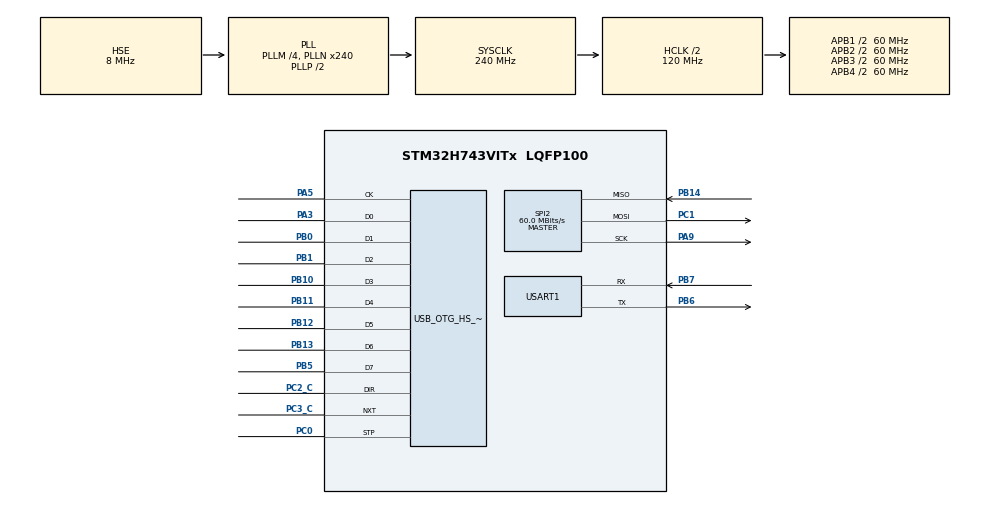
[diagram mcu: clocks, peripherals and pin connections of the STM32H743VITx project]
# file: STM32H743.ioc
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CORTEX_M7.default_mode_Activation=1
Mcu.Family=STM32H7
Mcu.Name=STM32H743VITx
Mcu.Package=LQFP100
NVIC.PriorityGroup=NVIC_PRIORITYGROUP_4
PA3.Mode=Device_HS
PA3.Signal=USB_OTG_HS_ULPI_D0
PA5.Mode=Device_HS
PA5.Signal=USB_OTG_HS_ULPI_CK
PA9.Mode=Full_Duplex_Master
PA9.Signal=SPI2_SCK
PB0.Mode=Device_HS
PB0.Signal=USB_OTG_HS_ULPI_D1
PB1.Mode=Device_HS
PB1.Signal=USB_OTG_HS_ULPI_D2
PB10.Mode=Device_HS
PB10.Signal=USB_OTG_HS_ULPI_D3
PB11.Mode=Device_HS
PB11.Signal=USB_OTG_HS_ULPI_D4
PB12.Mode=Device_HS
PB12.Signal=USB_OTG_HS_ULPI_D5
PB13.Mode=Device_HS
PB13.Signal=USB_OTG_HS_ULPI_D6
PB14.Mode=Full_Duplex_Master
PB14.Signal=SPI2_MISO
PB5.Mode=Device_HS
PB5.Signal=USB_OTG_HS_ULPI_D7
PB6.Mode=Asynchronous
PB6.Signal=USART1_TX
PB7.Mode=Asynchronous
PB7.Signal=USART1_RX
PC0.Mode=Device_HS
PC0.Signal=USB_OTG_HS_ULPI_STP
PC1.Mode=Full_Duplex_Master
PC1.Signal=SPI2_MOSI
PC14-OSC32_IN\ (OSC32_IN).Mode=LSE-External-Oscillator
PC14-OSC32_IN\ (OSC32_IN).Signal=RCC_OSC32_IN
PC15-OSC32_OUT\ (OSC32_OUT).Mode=LSE-External-Oscillator
PC15-OSC32_OUT\ (OSC32_OUT).Signal=RCC_OSC32_OUT
PC2_C.Mode=Device_HS
PC2_C.Signal=USB_OTG_HS_ULPI_DIR
PC3_C.Mode=Device_HS
PC3_C.Signal=USB_OTG_HS_ULPI_NXT
PH0-OSC_IN\ (PH0).Mode=HSE-External-Oscillator
PH0-OSC_IN\ (PH0).Signal=RCC_OSC_IN
PH1-OSC_OUT\ (PH1).Mode=HSE-External-Oscillator
PH1-OSC_OUT\ (PH1).Signal=RCC_OSC_OUT
ProjectManager.HeapSize=0x200
ProjectManager.StackSize=0x400
ProjectManager.TargetToolchain=EWARM V8.50
RCC.ADCFreq_Value=100000000
RCC.APB1Freq_Value=60000000
RCC.APB2Freq_Value=60000000
RCC.APB3Freq_Value=60000000
RCC.APB4Freq_Value=60000000
RCC.CortexFreq_Value=240000000
RCC.D1PPRE=RCC_APB3_DIV2
RCC.D2PPRE1=RCC_APB1_DIV2
RCC.D2PPRE2=RCC_APB2_DIV2
RCC.D3PPRE=RCC_APB4_DIV2
RCC.DIVM1=4
RCC.DIVM2=4
RCC.DIVM3=4
RCC.DIVN1=240
RCC.DIVN2=100
RCC.DIVN3=96
RCC.DIVQ1=4
RCC.DIVQ2=4
RCC.DIVQ3=4
RCC.HCLKFreq_Value=120000000
RCC.HPRE=RCC_HCLK_DIV2
RCC.HSE_VALUE=8000000
RCC.PLL1_VCI_Range=RCC_PLL1VCIRANGE_3
RCC.PLL2FRACN=0
RCC.PLL3FRACN=0
RCC.PLLFRACN=0
RCC.PLLSourceVirtual=RCC_PLLSOURCE_HSE
RCC.RTCClockSelection=RCC_RTCCLKSOURCE_LSE
RCC.SYSCLKFreq_VALUE=240000000
RCC.SYSCLKSource=RCC_SYSCLKSOURCE_PLLCLK
RCC.Spi45ClockSelection=RCC_SPI45CLKSOURCE_PLL2
RCC.USBCLockSelection=RCC_USBCLKSOURCE_PLL3
RCC.USBFreq_Value=48000000
SPI2.CalculateBaudRate=60.0 MBits/s
SPI2.DataSize=SPI_DATASIZE_32BIT
SPI2.Direction=SPI_DIRECTION_2LINES
SPI2.Mode=SPI_MODE_MASTER
SPI2.VirtualType=VM_MASTER
USART1.VirtualMode-Asynchronous=VM_ASYNC
USB_OTG_HS.VirtualMode-Device_HS=Device_HS
VP_MEMORYMAP_VS_MEMORYMAP.Mode=CurAppReg
VP_RTC_VS_RTC_Activate.Mode=RTC_Enabled
board=custom

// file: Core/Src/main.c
/* USER CODE BEGIN Header */
/**
  ******************************************************************************
  * @file           : main.c
  * @brief          : Main program body
  ******************************************************************************
  */
/* USER CODE END Header */
#include "main.h"
#include "rtc.h"
#include "spi.h"
#include "usart.h"
#include "gpio.h"
#include "usb3300_ulpi_hw.h"
#include "usb_device.h"
#include "uart_diag.h"

extern USBD_HandleTypeDef hUsbDeviceHS;

/* USER CODE BEGIN PV */
static uint32_t s_diag_loop;

/* USER CODE END PV */

void SystemClock_Config(void);
static void MPU_Config(void);

/* USER CODE BEGIN 0 */

static void UART_BlinkSos(void)
{
  GPIO_InitTypeDef g = {0};
  uint32_t i;

  __HAL_RCC_GPIOB_CLK_ENABLE();
  g.Pin = GPIO_PIN_6;
  g.Mode = GPIO_MODE_OUTPUT_PP;
  g.Pull = GPIO_NOPULL;
  g.Speed = GPIO_SPEED_FREQ_LOW;
  HAL_GPIO_Init(GPIOB, &g);

  for (;;)
  {
    for (i = 0U; i < 6U; i++)
    {
      HAL_GPIO_WritePin(GPIOB, GPIO_PIN_6, GPIO_PIN_SET);
      for (volatile uint32_t d = 0U; d < 200000U; d++) {}
      HAL_GPIO_WritePin(GPIOB, GPIO_PIN_6, GPIO_PIN_RESET);
      for (volatile uint32_t d = 0U; d < 200000U; d++) {}
    }
    for (volatile uint32_t d = 0U; d < 1200000U; d++) {}
  }
}

static void Diag_Step(const char *name)
{
  UART_DiagPrintf("[M] >>> %s (tick=%lu)\r\n", name, (unsigned long)HAL_GetTick());
}

/* USER CODE END 0 */

int main(void)
{

  MPU_Config();
  HAL_Init();
  SystemClock_Config();

  Diag_Step("MX_GPIO_Init");
  MX_GPIO_Init();

  Diag_Step("MX_USART1_UART_Init");
  MX_USART1_UART_Init();

  UART_DiagBanner();
  UART_DiagMark("[M] (MPU + HAL + Clock already done — log starts here)\r\n");
  UART_DiagDumpResetCause();
  UART_DiagDumpClocks();

  Diag_Step("USB3300_ULPI_HwInit");
  USB3300_ULPI_HwInit();

  Diag_Step("USB_DEVICE_Init");
  USB_DEVICE_Init();

  Diag_Step("MX_RTC_Init");
  MX_RTC_Init();
  UART_DiagPrintf("[M] LSE ready=%u\r\n",
                  (unsigned)__HAL_RCC_GET_FLAG(RCC_FLAG_LSERDY));

  Diag_Step("MX_SPI2_Init");
  MX_SPI2_Init();

  /* USER CODE BEGIN 2 */
  UART_DiagMark("[M] === init complete, entering main loop ===\r\n");
  if (hUsbDeviceHS.dev_state == 3U)
  {
    UART_DiagMark("[M] USB OK on MCU. On Mac run:\r\n");
    UART_DiagMark("[M]   system_profiler SPUSBDataType | grep -A8 0483\r\n");
    UART_DiagMark("[M]   ls /dev/cu.usbmodem*\r\n");
    UART_DiagMark("[M] Do NOT use usbserial-* for CDC — that is this debug log.\r\n");
  }
  /* USER CODE END 2 */

  /* Infinite loop */
  while (1)
  {

    /* USER CODE BEGIN 3 */
    s_diag_loop++;
    UART_DiagPrintf("\r\n[LOOP] #%lu tick=%lu\r\n",
                    (unsigned long)s_diag_loop, (unsigned long)HAL_GetTick());
    UART_DiagDumpClocks();
    UART_DiagDumpPwrUsb();
    UART_DiagDumpOtgHsRegs();
    UART_DiagDumpPcd("loop");
    UART_DiagDumpUsbd("loop");
    HAL_Delay(3000);
  }
  /* USER CODE END 3 */
}

void SystemClock_Config(void)
{
  RCC_OscInitTypeDef RCC_OscInitStruct = {0};
  RCC_ClkInitTypeDef RCC_ClkInitStruct = {0};
  HAL_StatusTypeDef st;

  HAL_PWREx_ConfigSupply(PWR_LDO_SUPPLY);

  __HAL_PWR_VOLTAGESCALING_CONFIG(PWR_REGULATOR_VOLTAGE_SCALE2);

  while(!__HAL_PWR_GET_FLAG(PWR_FLAG_VOSRDY)) {}

  RCC_OscInitStruct.OscillatorType = RCC_OSCILLATORTYPE_HSE;
  RCC_OscInitStruct.HSEState = RCC_HSE_ON;
  RCC_OscInitStruct.PLL.PLLState = RCC_PLL_ON;
  RCC_OscInitStruct.PLL.PLLSource = RCC_PLLSOURCE_HSE;
  RCC_OscInitStruct.PLL.PLLM = 4;
  RCC_OscInitStruct.PLL.PLLN = 240;
  RCC_OscInitStruct.PLL.PLLP = 2;
  RCC_OscInitStruct.PLL.PLLQ = 4;
  RCC_OscInitStruct.PLL.PLLR = 2;
  RCC_OscInitStruct.PLL.PLLRGE = RCC_PLL1VCIRANGE_3;
  RCC_OscInitStruct.PLL.PLLVCOSEL = RCC_PLL1VCOWIDE;
  RCC_OscInitStruct.PLL.PLLFRACN = 0;
  st = HAL_RCC_OscConfig(&RCC_OscInitStruct);
  if (st != HAL_OK)
  {
    Error_Handler();
  }

  RCC_ClkInitStruct.ClockType = RCC_CLOCKTYPE_HCLK|RCC_CLOCKTYPE_SYSCLK
                              |RCC_CLOCKTYPE_PCLK1|RCC_CLOCKTYPE_PCLK2
                              |RCC_CLOCKTYPE_D3PCLK1|RCC_CLOCKTYPE_D1PCLK1;
  RCC_ClkInitStruct.SYSCLKSource = RCC_SYSCLKSOURCE_PLLCLK;
  RCC_ClkInitStruct.SYSCLKDivider = RCC_SYSCLK_DIV1;
  RCC_ClkInitStruct.AHBCLKDivider = RCC_HCLK_DIV2;
  RCC_ClkInitStruct.APB3CLKDivider = RCC_APB3_DIV2;
  RCC_ClkInitStruct.APB1CLKDivider = RCC_APB1_DIV2;
  RCC_ClkInitStruct.APB2CLKDivider = RCC_APB2_DIV2;
  RCC_ClkInitStruct.APB4CLKDivider = RCC_APB4_DIV2;

  st = HAL_RCC_ClockConfig(&RCC_ClkInitStruct, FLASH_LATENCY_2);
  if (st != HAL_OK)
  {
    Error_Handler();
  }
}

/* USER CODE END 4 */

 /* MPU Configuration */

void MPU_Config(void)
{
  MPU_Region_InitTypeDef MPU_InitStruct = {0};

  HAL_MPU_Disable();

  MPU_InitStruct.Enable = MPU_REGION_ENABLE;
  MPU_InitStruct.Number = MPU_REGION_NUMBER0;
  MPU_InitStruct.BaseAddress = 0x0;
  MPU_InitStruct.Size = MPU_REGION_SIZE_4GB;
  MPU_InitStruct.SubRegionDisable = 0x87;
  MPU_InitStruct.TypeExtField = MPU_TEX_LEVEL0;
  MPU_InitStruct.AccessPermission = MPU_REGION_NO_ACCESS;
  MPU_InitStruct.DisableExec = MPU_INSTRUCTION_ACCESS_DISABLE;
  MPU_InitStruct.IsShareable = MPU_ACCESS_SHAREABLE;
  MPU_InitStruct.IsCacheable = MPU_ACCESS_NOT_CACHEABLE;
  MPU_InitStruct.IsBufferable = MPU_ACCESS_NOT_BUFFERABLE;

  HAL_MPU_ConfigRegion(&MPU_InitStruct);
  HAL_MPU_Enable(MPU_PRIVILEGED_DEFAULT);

}

void Error_Handler(void)
{
  /* USER CODE BEGIN Error_Handler_Debug */
  if (huart1.Instance == USART1)
  {
    UART_DiagMark("\r\n!!! Error_Handler !!!\r\n");
    UART_DiagDumpClocks();
    UART_DiagDumpPwrUsb();
    UART_DiagDumpOtgHsRegs();
    UART_DiagDumpPcd("err");
    UART_DiagDumpUsbd("err");
  }
  UART_BlinkSos();
  /* USER CODE END Error_Handler_Debug */
}
#ifdef USE_FULL_ASSERT
/**
  * @brief  Reports the name of the source file and the source line number
  *         where the assert_param error has occurred.
  * @param  file: pointer to the source file name
  * @param  line: assert_param error line source number
  * @retval None
  */
void assert_failed(uint8_t *file, uint32_t line)
{
  /* USER CODE BEGIN 6 */
  UART_DiagPrintf("ASSERT %s:%lu\r\n", file, (unsigned long)line);
  /* USER CODE END 6 */
}
#endif /* USE_FULL_ASSERT */
